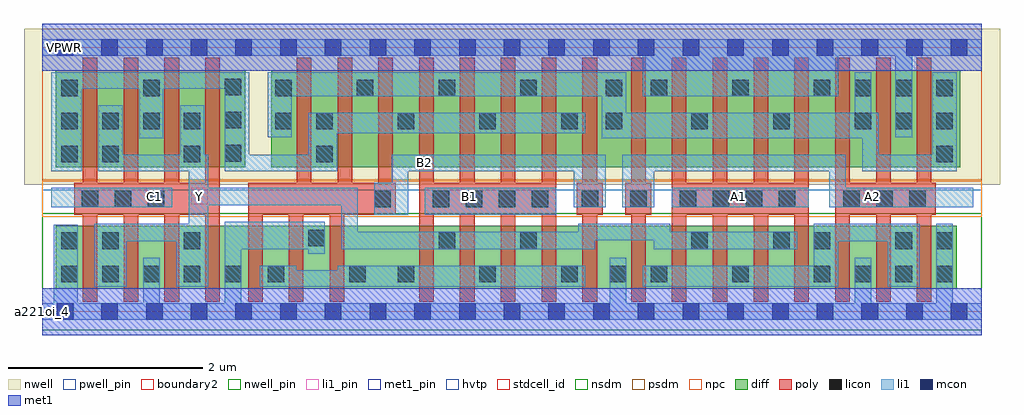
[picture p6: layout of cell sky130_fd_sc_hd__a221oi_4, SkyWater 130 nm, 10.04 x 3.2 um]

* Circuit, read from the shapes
.subckt sky130_fd_sc_hd__a221oi_4 A1 A2 B1 B2 C1 VGND VNB VPB VPWR Y
XM1 Y C1 VGND VNB sky130_fd_pr__nfet_01v8 w=0.65 l=0.15 m=4
XM2 n1 B2 VGND VNB sky130_fd_pr__nfet_01v8 w=0.65 l=0.15 m=4
XM3 Y B1 n1 VNB sky130_fd_pr__nfet_01v8 w=0.65 l=0.15 m=4
XM4 n2 A2 VGND VNB sky130_fd_pr__nfet_01v8 w=0.65 l=0.15 m=4
XM5 Y A1 n2 VNB sky130_fd_pr__nfet_01v8 w=0.65 l=0.15 m=4
XM6 Y C1 n3 VPB sky130_fd_pr__pfet_01v8_hvt w=1 l=0.15 m=4
XM7 n3 B2 n4 VPB sky130_fd_pr__pfet_01v8_hvt w=1 l=0.15 m=4
XM8 n4 B1 n3 VPB sky130_fd_pr__pfet_01v8_hvt w=1 l=0.15 m=4
XM9 VPWR A2 n4 VPB sky130_fd_pr__pfet_01v8_hvt w=1 l=0.15 m=4
XM10 n4 A1 VPWR VPB sky130_fd_pr__pfet_01v8_hvt w=1 l=0.15 m=4
.ends

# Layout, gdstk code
import gdstk
lib = gdstk.Library(unit=1e-6, precision=1e-09)
def R(c, l, rs):  # rectangles x0, y0, x1, y1
    for r in rs: c.add(gdstk.rectangle(r[:2], r[2:], *l))
def A(c, l, x, y, w, h, nx, ny, dx, dy):  # array of equal rectangles
    R(c, l, [(x+i*dx, y+j*dy, x+i*dx+w, y+j*dy+h) for i in range(nx) for j in range(ny)])
def P(c, l, *ps):  # polygons
    for p in ps: c.add(gdstk.Polygon(p, *l))
nwell_pin = (64, 16)
nwell = (64, 20)
diff = (65, 20)
poly = (66, 20)
licon = (66, 44)
li1_pin = (67, 16)
li1 = (67, 20)
mcon = (67, 44)
met1_pin = (68, 16)
met1 = (68, 20)
hvtp = (78, 44)
stdcell_id = (81, 4)
nsdm = (93, 44)
psdm = (94, 20)
npc = (95, 20)
pwell_pin = (122, 16)
boundary2 = (236, 0)

sky130_fd_sc_hd__a221oi_ = lib.new_cell('sky130_fd_sc_hd__a221oi_4')
R(sky130_fd_sc_hd__a221oi_, nwell_pin, [(0.15,2.635,0.32,2.805)])
R(sky130_fd_sc_hd__a221oi_, nwell, [(-0.19,1.305,9.85,2.91)])
R(sky130_fd_sc_hd__a221oi_, diff, [(0.135,0.235,9.405,0.885), (0.135,1.485,2.085,2.485), (2.355,1.485,9.44,2.485)])
P(sky130_fd_sc_hd__a221oi_, poly, [(1.825,2.615),(1.675,2.615),(1.675,1.325),(1.405,1.325),(1.405,2.615),(1.255,2.615),(1.255,1.325),(0.985,1.325),(0.985,2.615),(0.835,2.615),(0.835,1.325),(0.565,1.325),(0.565,2.615),(0.415,2.615),(0.415,1.325),(0.325,1.325),(0.325,0.995),(0.415,0.995),(0.415,0.105),(0.565,0.105),(0.565,0.995),(0.835,0.995),(0.835,0.105),(0.985,0.105),(0.985,0.995),(1.255,0.995),(1.255,0.105),(1.405,0.105),(1.405,0.995),(1.675,0.995),(1.675,0.105),(1.825,0.105)],
  [(6.265,1.325),(6.205,1.325),(6.205,2.615),(6.055,2.615),(6.055,1.325),(5.995,1.325),(5.995,0.995),(6.055,0.995),(6.055,0.105),(6.205,0.105),(6.205,0.995),(6.265,0.995)],
  [(3.635,1.325),(3.605,1.325),(3.605,2.615),(3.455,2.615),(3.455,1.325),(3.185,1.325),(3.185,2.615),(3.035,2.615),(3.035,1.325),(2.765,1.325),(2.765,2.615),(2.615,2.615),(2.615,1.325),(2.115,1.325),(2.115,0.105),(2.265,0.105),(2.265,0.995),(2.535,0.995),(2.535,0.105),(2.685,0.105),(2.685,0.995),(2.955,0.995),(2.955,0.105),(3.105,0.105),(3.105,0.995),(3.635,0.995)],
  [(9.19,1.325),(9.145,1.325),(9.145,2.615),(8.995,2.615),(8.995,1.325),(8.725,1.325),(8.725,2.615),(8.575,2.615),(8.575,1.325),(8.305,1.325),(8.305,2.615),(8.155,2.615),(8.155,0.105),(8.305,0.105),(8.305,0.995),(8.575,0.995),(8.575,0.105),(8.725,0.105),(8.725,0.995),(8.995,0.995),(8.995,0.105),(9.145,0.105),(9.145,0.995),(9.19,0.995)],
  [(5.765,1.325),(5.705,1.325),(5.705,2.615),(5.555,2.615),(5.555,1.325),(5.495,1.325),(5.495,0.995),(5.555,0.995),(5.555,0.105),(5.705,0.105),(5.705,0.995),(5.765,0.995)],
  [(7.885,2.615),(7.735,2.615),(7.735,1.325),(7.465,1.325),(7.465,2.615),(7.315,2.615),(7.315,1.325),(7.045,1.325),(7.045,2.615),(6.895,2.615),(6.895,1.325),(6.625,1.325),(6.625,2.615),(6.475,2.615),(6.475,0.105),(6.625,0.105),(6.625,0.995),(6.895,0.995),(6.895,0.105),(7.045,0.105),(7.045,0.995),(7.315,0.995),(7.315,0.105),(7.465,0.105),(7.465,0.995),(7.735,0.995),(7.735,0.105),(7.885,0.105)],
  [(5.285,2.615),(5.135,2.615),(5.135,1.325),(4.865,1.325),(4.865,2.615),(4.715,2.615),(4.715,1.325),(4.445,1.325),(4.445,2.615),(4.295,2.615),(4.295,1.325),(4.025,1.325),(4.025,2.615),(3.875,2.615),(3.875,0.105),(4.025,0.105),(4.025,0.995),(4.295,0.995),(4.295,0.105),(4.445,0.105),(4.445,0.995),(4.715,0.995),(4.715,0.105),(4.865,0.105),(4.865,0.995),(5.135,0.995),(5.135,0.105),(5.285,0.105)])
A(sky130_fd_sc_hd__a221oi_, licon, 0.195, 0.305, 0.17, 0.17, 5, 1, 0.42, 0)
A(sky130_fd_sc_hd__a221oi_, licon, 3.655, 0.305, 0.17, 0.17, 3, 1, 0.84, 0)
A(sky130_fd_sc_hd__a221oi_, licon, 6.255, 0.305, 0.17, 0.17, 3, 2, 0.84, 1.91)
A(sky130_fd_sc_hd__a221oi_, licon, 8.355, 0.305, 0.17, 0.17, 3, 2, 0.42, 1.91)
A(sky130_fd_sc_hd__a221oi_, licon, 0.405, 1.075, 0.17, 0.17, 3, 1, 0.34, 0)
A(sky130_fd_sc_hd__a221oi_, licon, 4.015, 1.075, 0.17, 0.17, 4, 1, 0.34, 0)
A(sky130_fd_sc_hd__a221oi_, licon, 6.555, 1.075, 0.17, 0.17, 4, 1, 0.34, 0)
A(sky130_fd_sc_hd__a221oi_, licon, 8.235, 1.075, 0.17, 0.17, 3, 1, 0.34, 0)
A(sky130_fd_sc_hd__a221oi_, licon, 1.875, 1.545, 0.17, 0.17, 1, 3, 0, 0.34)
A(sky130_fd_sc_hd__a221oi_, licon, 0.195, 1.875, 0.17, 0.17, 4, 1, 0.42, 0)
A(sky130_fd_sc_hd__a221oi_, licon, 2.815, 1.875, 0.17, 0.17, 4, 1, 0.84, 0)
A(sky130_fd_sc_hd__a221oi_, licon, 6.675, 1.875, 0.17, 0.17, 3, 1, 0.84, 0)
A(sky130_fd_sc_hd__a221oi_, licon, 2.395, 2.215, 0.17, 0.17, 4, 1, 0.84, 0)
R(sky130_fd_sc_hd__a221oi_, licon, [(2.315,0.305,2.485,0.475), (3.155,0.305,3.325,0.475), (5.835,0.305,6.005,0.475), (0.195,0.645,0.365,0.815), (0.615,0.645,0.785,0.815), (1.455,0.645,1.625,0.815), (4.075,0.645,4.245,0.815), (4.915,0.645,5.085,0.815), (6.675,0.645,6.845,0.815), (7.515,0.645,7.685,0.815), (7.935,0.645,8.105,0.815), (8.775,0.645,8.945,0.815), (9.195,0.645,9.365,0.815), (2.735,0.675,2.905,0.845), (3.415,1.075,3.585,1.245), (5.545,1.075,5.715,1.245), (6.045,1.075,6.215,1.245), (0.195,1.535,0.365,1.705), (0.615,1.535,0.785,1.705), (1.455,1.535,1.625,1.705), (2.815,1.535,2.985,1.705), (9.195,1.535,9.365,1.705), (2.395,1.875,2.565,2.045), (5.795,1.875,5.965,2.045), (8.775,1.875,8.945,2.045), (9.195,1.875,9.365,2.045), (0.195,2.215,0.365,2.385), (1.035,2.215,1.205,2.385), (5.795,2.215,5.965,2.385)])
R(sky130_fd_sc_hd__a221oi_, li1_pin, [(1.07,1.105,1.24,1.275), (1.53,1.105,1.7,1.275), (4.31,1.105,4.48,1.275), (7.07,1.105,7.24,1.275), (8.45,1.105,8.62,1.275), (3.85,1.445,4.02,1.615)])
R(sky130_fd_sc_hd__a221oi_, li1, [(3.935,0.995,5.285,1.275), (0.09,1.075,1.335,1.275), (6.475,1.075,7.885,1.275)])
P(sky130_fd_sc_hd__a221oi_, li1, [(7.765,0.82),(6.46,0.82),(6.46,0.905),(5.51,0.905),(5.51,0.82),(3.245,0.82),(3.245,1.275),(1.705,1.275),(1.705,1.615),(1.665,1.615),(1.665,2.125),(1.415,2.125),(1.415,1.615),(0.825,1.615),(0.825,2.125),(0.575,2.125),(0.575,1.445),(1.505,1.445),(1.505,0.905),(0.535,0.905),(0.535,0.255),(0.865,0.255),(0.865,0.725),(1.375,0.725),(1.375,0.255),(1.705,0.255),(1.705,1.095),(3.075,1.095),(3.075,0.645),(5.68,0.645),(5.68,0.735),(6.29,0.735),(6.29,0.645),(7.765,0.645)],
  [(5.795,1.615),(3.595,1.615),(3.595,1.325),(3.415,1.325),(3.415,0.995),(3.765,0.995),(3.765,1.445),(5.465,1.445),(5.465,1.075),(5.795,1.075)],
  [(5.585,0.475),(3.035,0.475),(3.035,0.425),(2.61,0.425),(2.61,0.475),(2.235,0.475),(2.235,0.255),(5.585,0.255)],
  [(9.405,2.465),(9.155,2.465),(9.155,1.615),(8.605,1.615),(8.605,2.045),(8.525,2.045),(8.525,2.465),(8.355,2.465),(8.355,2.045),(6.005,2.045),(6.005,2.465),(2.315,2.465),(2.315,1.795),(2.565,1.795),(2.565,2.215),(5.755,2.215),(5.755,1.785),(8.435,1.785),(8.435,1.445),(9.405,1.445)],
  [(9.025,0.905),(7.935,0.905),(7.935,0.475),(6.175,0.475),(6.175,0.255),(8.185,0.255),(8.185,0.725),(8.695,0.725),(8.695,0.255),(9.025,0.255)],
  [(5.585,2.045),(2.735,2.045),(2.735,1.615),(2.125,1.615),(2.125,2.465),(0.09,2.465),(0.09,1.445),(0.405,1.445),(0.405,2.295),(0.995,2.295),(0.995,1.785),(1.245,1.785),(1.245,2.295),(1.875,2.295),(1.875,1.445),(3.03,1.445),(3.03,1.835),(5.585,1.835)],
  [(9.575,1.275),(8.265,1.275),(8.265,1.615),(5.965,1.615),(5.965,1.075),(6.295,1.075),(6.295,1.445),(8.095,1.445),(8.095,1.075),(9.575,1.075)],
  [(9.66,2.805),(0,2.805),(0,2.635),(6.175,2.635),(6.175,2.215),(8.185,2.215),(8.185,2.635),(8.775,2.635),(8.775,1.795),(8.945,1.795),(8.945,2.635),(9.66,2.635)],
  [(9.66,0.085),(9.365,0.085),(9.365,0.905),(9.195,0.905),(9.195,0.085),(8.525,0.085),(8.525,0.555),(8.355,0.555),(8.355,0.085),(6.005,0.085),(6.005,0.555),(5.835,0.555),(5.835,0.085),(2.045,0.085),(2.045,0.645),(2.735,0.645),(2.735,0.595),(2.905,0.595),(2.905,0.925),(1.875,0.925),(1.875,0.085),(1.205,0.085),(1.205,0.555),(1.035,0.555),(1.035,0.085),(0.365,0.085),(0.365,0.895),(0.115,0.895),(0.115,0.085),(0,0.085),(0,-0.085),(9.66,-0.085)])
A(sky130_fd_sc_hd__a221oi_, mcon, 0.145, -0.085, 0.17, 0.17, 21, 2, 0.46, 2.72)
R(sky130_fd_sc_hd__a221oi_, met1_pin, [(0.15,-0.085,0.32,0.085), (0.15,2.635,0.32,2.805)])
R(sky130_fd_sc_hd__a221oi_, hvtp, [(0,1.25,9.66,2.72)])
R(sky130_fd_sc_hd__a221oi_, stdcell_id, [(0,0,9.66,2.72)])
R(sky130_fd_sc_hd__a221oi_, nsdm, [(0,-0.19,9.66,1.015)])
R(sky130_fd_sc_hd__a221oi_, psdm, [(0,1.355,9.66,2.91)])
R(sky130_fd_sc_hd__a221oi_, npc, [(0,0.975,9.66,1.345)])
R(sky130_fd_sc_hd__a221oi_, pwell_pin, [(0.15,-0.085,0.32,0.085)])
R(sky130_fd_sc_hd__a221oi_, boundary2, [(0,0,9.66,2.72)])
sky130_fd_sc_hd__a221oi_.add(gdstk.FlexPath([(0,0),(9.66,0)], 0.48, ends="flush", simple_path=True, layer=68, datatype=20))  # met1
sky130_fd_sc_hd__a221oi_.add(gdstk.FlexPath([(0,2.72),(9.66,2.72)], 0.48, ends="flush", simple_path=True, layer=68, datatype=20))  # met1
sky130_fd_sc_hd__a221oi_.add(gdstk.Label('a221oi_4', (0,0), layer=83, texttype=44))
sky130_fd_sc_hd__a221oi_.add(gdstk.Label('VGND', (0.23,0), layer=68, texttype=5))
sky130_fd_sc_hd__a221oi_.add(gdstk.Label('VPWR', (0.23,2.72), layer=68, texttype=5))
sky130_fd_sc_hd__a221oi_.add(gdstk.Label('VPB', (0.235,2.72), layer=64, texttype=5))
sky130_fd_sc_hd__a221oi_.add(gdstk.Label('VNB', (0.235,0), layer=64, texttype=59))
sky130_fd_sc_hd__a221oi_.add(gdstk.Label('B1', (4.395,1.19), layer=67, texttype=5))
sky130_fd_sc_hd__a221oi_.add(gdstk.Label('B2', (3.935,1.53), layer=67, texttype=5))
sky130_fd_sc_hd__a221oi_.add(gdstk.Label('A1', (7.155,1.19), layer=67, texttype=5))
sky130_fd_sc_hd__a221oi_.add(gdstk.Label('C1', (1.155,1.19), layer=67, texttype=5))
sky130_fd_sc_hd__a221oi_.add(gdstk.Label('Y', (1.615,1.19), layer=67, texttype=5))
sky130_fd_sc_hd__a221oi_.add(gdstk.Label('A2', (8.535,1.19), layer=67, texttype=5))

lib.write_gds('sky130_fd_sc_hd__a221oi_4.gds')
